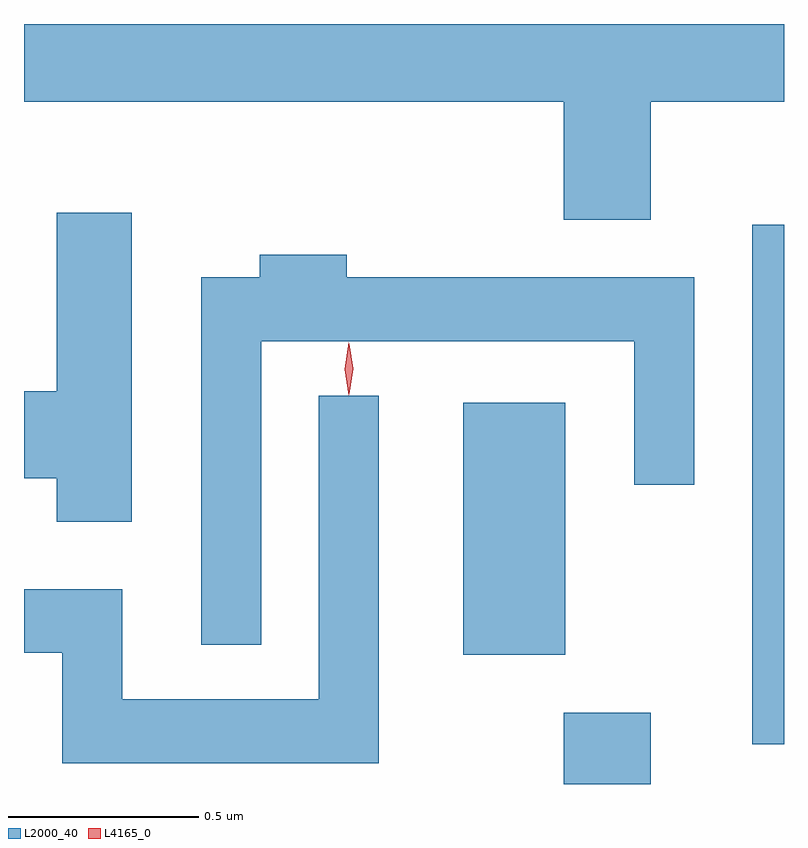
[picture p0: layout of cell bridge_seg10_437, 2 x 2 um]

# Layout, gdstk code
import gdstk
lib = gdstk.Library(unit=1e-6, precision=1e-09)
def R(c, l, rs):  # rectangles x0, y0, x1, y1
    for r in rs: c.add(gdstk.rectangle(r[:2], r[2:], *l))
def P(c, l, *ps):  # polygons
    for p in ps: c.add(gdstk.Polygon(p, *l))
L2000_40 = (2000, 40)
L4165_0 = (4165, 0)

bridge_seg10_437 = lib.new_cell('bridge_seg10_437')
R(bridge_seg10_437, L2000_40, [(1372.511,2092.141,1372.739,2092.329), (1373.006,2092.246,1373.09,2093.613), (1372.246,2092.481,1372.514,2093.144)])
P(bridge_seg10_437, L2000_40, [(1372.739,2093.936),(1373.09,2093.936),(1373.09,2094.141),(1371.09,2094.141),(1371.09,2093.936),(1372.511,2093.936),(1372.511,2093.626),(1372.739,2093.626)],
  [(1371.374,2093.644),(1371.176,2093.644),(1371.176,2093.174),(1371.09,2093.174),(1371.09,2092.946),(1371.176,2092.946),(1371.176,2092.831),(1371.374,2092.831)],
  [(1371.714,2093.306),(1372.696,2093.306),(1372.696,2092.928),(1372.854,2092.928),(1372.854,2093.474),(1371.939,2093.474),(1371.939,2093.534),(1371.711,2093.534),(1371.711,2093.474),(1371.556,2093.474),(1371.556,2092.508),(1371.714,2092.508)],
  [(1372.024,2093.163),(1371.866,2093.163),(1371.866,2092.364),(1371.349,2092.364),(1371.349,2092.654),(1371.09,2092.654),(1371.09,2092.486),(1371.191,2092.486),(1371.191,2092.196),(1372.024,2092.196)])
P(bridge_seg10_437, L4165_0, [(1371.944,2093.164),(1371.944,2093.164),(1371.934,2093.233),(1371.944,2093.303),(1371.944,2093.303),(1371.945,2093.303),(1371.954,2093.233),(1371.945,2093.164)],
  [(1371.945,2093.167),(1371.936,2093.234),(1371.945,2093.3),(1371.945,2093.3),(1371.946,2093.3),(1371.956,2093.234),(1371.946,2093.167),(1371.946,2093.167)])

lib.write_gds('bridge_seg10_437.gds')
